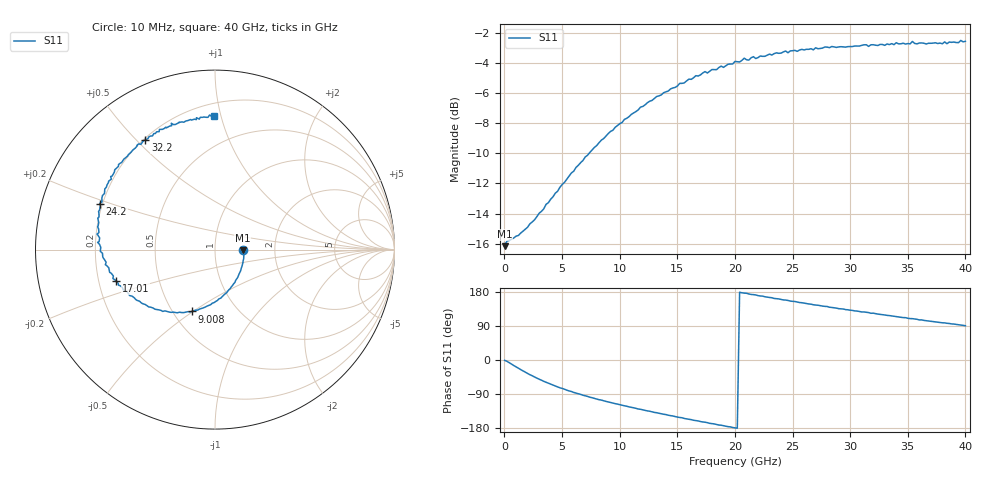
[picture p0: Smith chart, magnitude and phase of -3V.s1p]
!Agilent Technologies,N5227A,US51270434,A.10.00.00
!Agilent N5227A: A.10.00.00
!Date: Monday, January 26, 2026 17:30:35
!Correction: S11(Full 1 Port(1))
!S1P File: Measurement: S11:
# Hz S  dB  R 50
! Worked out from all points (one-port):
!   201 points, 10 MHz to 40 GHz, reference 50 ohm
!   lowest |S11| = -16.2 dB at 10 MHz (marker M1), VSWR 1.37, Z = 68.4 - j0.36 ohm
!   |S11| at or under -10 dB: start of sweep to 7.342 GHz
!   S11 on the Smith chart (normalised r, x): 10 MHz: 1.37, -0.01; 9.008 GHz: 0.62, -0.49; 17.01 GHz: 0.27, -0.14; 24.2 GHz: 0.19, +0.18; 32.2 GHz: 0.21, +0.53; 40 GHz: 0.28, +0.95
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1e7  -16.17 -0.9
2.0995e8  -15.83 -3.4
1.00975e9  -15.50 -18.0
2.4094e9  -14.56 -41.5
5.00875e9  -12.07 -75.0
7.00825e9  -10.24 -94.5
9.00775e9  -8.68 -110.7
1.00075e10  -8.03 -117.9
1.260685e10  -6.53 -135.2
1.500625e10  -5.52 -150.6
1.700575e10  -4.78 -162.4
2.0005e10  -3.89 -179.1
2.04049e10  -3.92 178.9
2.08048e10  -3.67 176.5
2.12047e10  -3.80 174.2
2.16046e10  -3.57 172.5
2.420395e10  -3.25 158.5
2.500375e10  -3.17 154.8
2.700325e10  -2.98 145.0
2.8003e10  -2.93 141.2
2.820295e10  -2.97 139.2
3.00025e10  -2.90 131.4
3.220195e10  -2.81 122.4
3.500125e10  -2.70 110.2
3.540115e10  -2.56 109.1
3.6001e10  -2.66 105.7
3.620095e10  -2.66 105.8
4e10  -2.55 90.4
